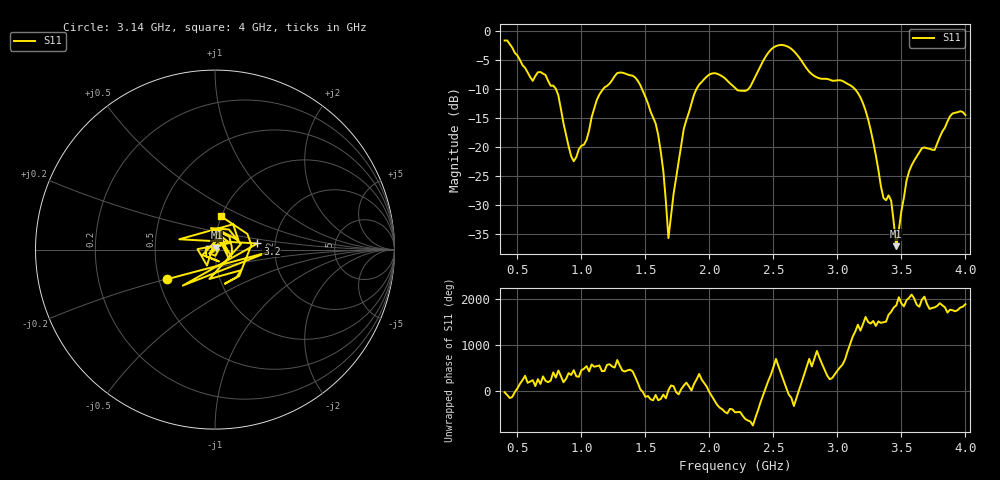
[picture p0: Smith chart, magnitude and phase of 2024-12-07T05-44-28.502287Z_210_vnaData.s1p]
!Created with skrf (http://scikit-rf.org).
# Hz S RI R 50.0
!freq ReS11 ImS11
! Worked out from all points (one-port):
!   181 points, 400 MHz to 4 GHz, reference 50 ohm
!   lowest |S11| = -37.1 dB at 3.46 GHz (marker M1), VSWR 1.03, Z = 50.8 + j1.14 ohm
!   |S11| at or under -10 dB: 801.3 MHz to 1.17 GHz (368.2 MHz wide, 37.4 % of centre); 1.474 GHz to 1.899 GHz (424.8 MHz wide, 25.2 % of centre); 3.137 GHz to end of sweep (the widest 3 of 4)
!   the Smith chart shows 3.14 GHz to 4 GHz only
!   S11 on the Smith chart (normalised r, x): 3.14 GHz: 0.55, -0.20; 3.2 GHz: 1.61, +0.12; 4 GHz: 0.99, +0.38
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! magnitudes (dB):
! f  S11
! 400 MHz  -1.6
! 620 MHz  -8.6
! 800 MHz  -9.9
! 860 MHz  -15.9
! 940 MHz  -22.5
! 1.14 GHz  -10.9
! 1.3 GHz  -7.1
! 1.44 GHz  -8.5
! 1.58 GHz  -15.9
! 1.64 GHz  -24.1
! 1.68 GHz  -35.7
! 1.76 GHz  -22.4
! 1.8 GHz  -16.8
! 1.92 GHz  -9.2
! 2.04 GHz  -7.2
! 2.2 GHz  -9.8
! 2.3 GHz  -10.1
! 2.5 GHz  -2.8
! 2.66 GHz  -3.4
! 3.1 GHz  -9.3
! 3.14 GHz  -10.1
! 3.2 GHz  -12.4
! 3.36 GHz  -28.8
! 3.42 GHz  -29.3
! 3.46 GHz  -37.1
! 3.56 GHz  -24.2
! 3.9 GHz  -14.2
! 4 GHz  -14.5
